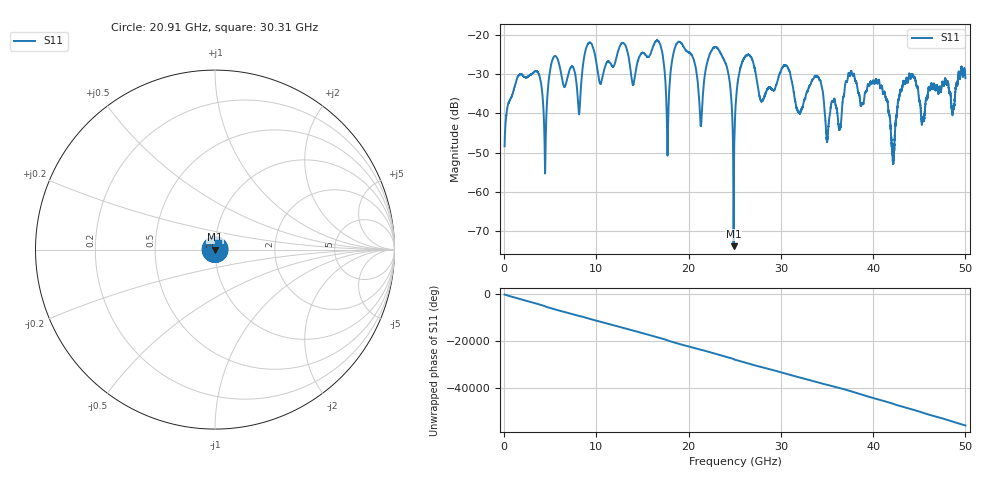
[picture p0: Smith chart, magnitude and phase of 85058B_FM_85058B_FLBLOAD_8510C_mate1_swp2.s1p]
!Created with skrf (http://scikit-rf.org).
# Hz S RI R 50.0
!freq ReS11 ImS11
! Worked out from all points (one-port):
!   10001 points, 45 MHz to 50 GHz, reference 50 ohm
!   lowest |S11| = -73.8 dB at 24.87 GHz (marker M1), VSWR 1.00, Z = 50 - j0.02 ohm
!   |S11| at or under -10 dB: start of sweep to end of sweep
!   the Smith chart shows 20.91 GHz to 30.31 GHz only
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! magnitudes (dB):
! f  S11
! 45 MHz  -48.3
! 1.639 GHz  -30.3
! 3.682 GHz  -29.6
! 4.416 GHz  -53.4
! 5.25 GHz  -26.2
! 6.289 GHz  -31.4
! 8.108 GHz  -40.2
! 9.112 GHz  -22.2
! 12.53 GHz  -22.9
! 13.98 GHz  -32.7
! 16.74 GHz  -21.6
! 17.72 GHz  -50.0
! 18.78 GHz  -22.0
! 21.32 GHz  -43.2
! 23.36 GHz  -24.3
! 24.87 GHz  -73.8
! 25.02 GHz  -41.2
! 26.26 GHz  -25.3
! 27.89 GHz  -36.8
! 31.27 GHz  -32.8
! 34.07 GHz  -30.8
! 35.04 GHz  -46.3
! 37.51 GHz  -30.2
! 40.77 GHz  -33.4
! 42.14 GHz  -50.3
! 43.76 GHz  -32.1
! 45.39 GHz  -41.3
! 50 GHz  -31.0
